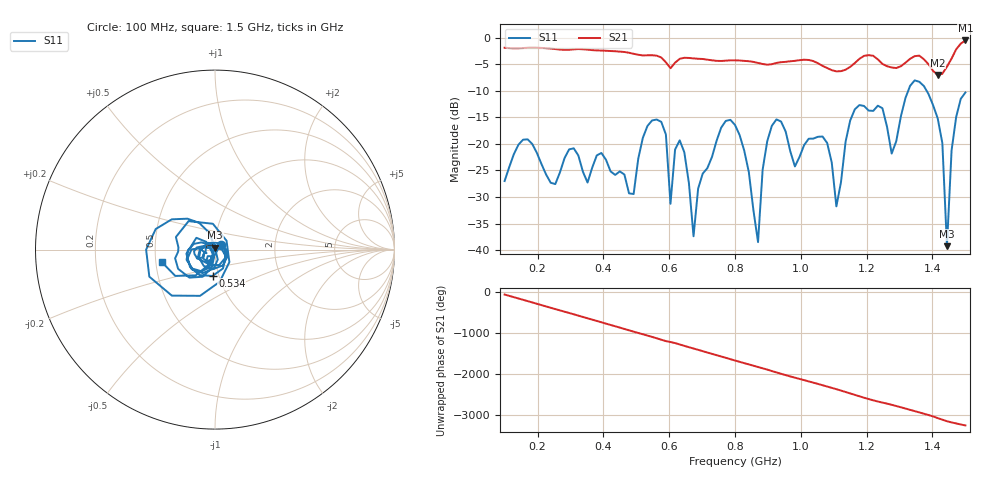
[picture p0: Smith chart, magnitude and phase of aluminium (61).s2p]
! NanoVNA-App
! Date: 2025-09-26 09:58:32
! Start: 100MHz Stop: 1,5GHz Points: 101
! S-Parameter data: F S11 S21 S12 S22
# Hz S RI R 50
!  Frequency  S11_Real  S11_Imag  S21_Real  S21_Imag  S12_Real  S12_Imag  S22_Real  S22_Imag
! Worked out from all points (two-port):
!   101 points, 100 MHz to 1.5 GHz, reference 50 ohm
!   highest |S21| = -0.55 dB at 1.5 GHz (marker M1); lowest = -7.1 dB at 1.416 GHz (marker M2)
!   |S21| within 3 dB of the highest: start of sweep to 567.7 MHz; 1.189 GHz to 1.222 GHz (33.02 MHz wide, 2.74 % of centre) (the widest 2 of 4)
!   lowest |S11| = -39.2 dB at 1.444 GHz (marker M3), VSWR 1.02, Z = 50 + j1.09 ohm
!   |S11| at or under -10 dB: start of sweep to 1.326 GHz; 1.382 GHz to end of sweep
!   S12 and S22 are empty: the file has one direction only
!   S11 on the Smith chart (normalised r, x): 100 MHz: 1.07, +0.06; 534 MHz: 0.93, -0.28; 1.5 GHz: 0.54, -0.08
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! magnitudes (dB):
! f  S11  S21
! 100 MHz  -27.0  -1.9
! 156 MHz  -19.2  -2.0
! 338 MHz  -25.2  -2.2
! 492 MHz  -29.4  -3.1
! 534 MHz  -16.6  -3.3
! 576 MHz  -15.9  -3.7
! 604 MHz  -31.3  -5.8
! 646 MHz  -21.6  -3.8
! 674 MHz  -37.4  -3.9
! 800 MHz  -16.4  -4.3
! 870 MHz  -38.5  -4.8
! 912 MHz  -16.6  -5.0
! 1.038 GHz  -19.0  -4.4
! 1.108 GHz  -31.8  -6.4
! 1.164 GHz  -13.5  -4.8
! 1.276 GHz  -21.8  -5.6
! 1.346 GHz  -8.1  -3.5
! 1.416 GHz  -15.2  -7.1
! 1.43 GHz  -19.8  -6.8
! 1.444 GHz  -39.2  -5.5
! 1.458 GHz  -21.2  -4.0
! 1.5 GHz  -10.3  -0.5
